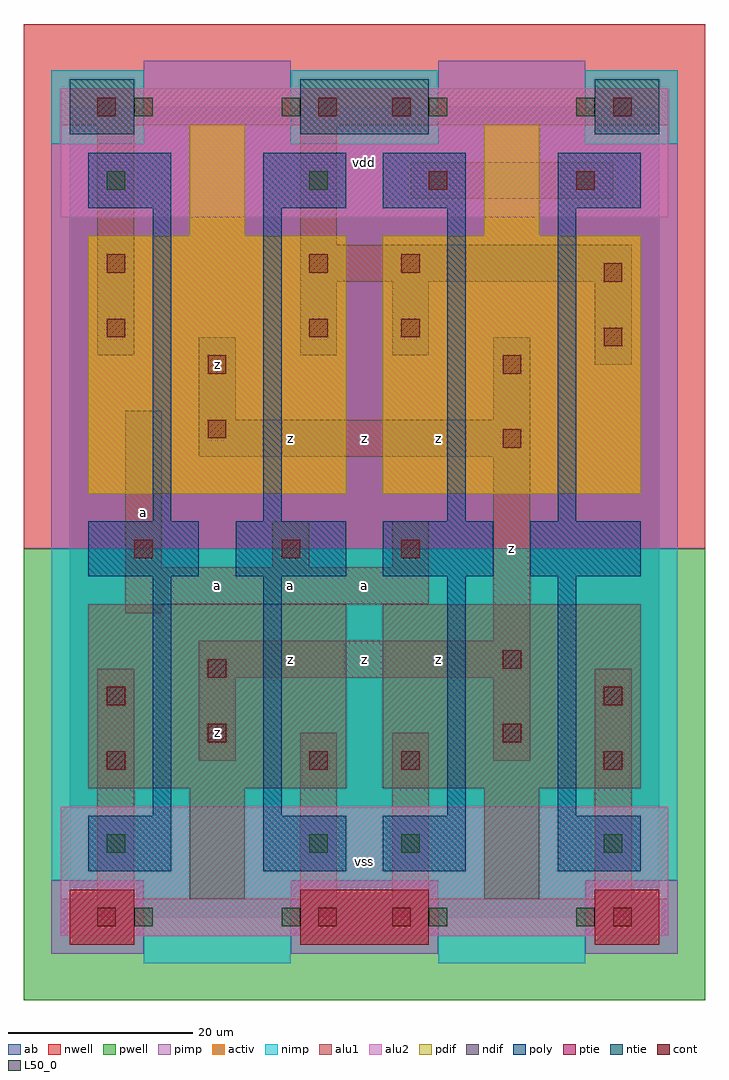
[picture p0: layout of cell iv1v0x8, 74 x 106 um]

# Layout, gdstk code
import gdstk
lib = gdstk.Library(unit=1e-6, precision=1e-09)
def R(c, l, rs):  # rectangles x0, y0, x1, y1
    for r in rs: c.add(gdstk.rectangle(r[:2], r[2:], *l))
def A(c, l, x, y, w, h, nx, ny, dx, dy):  # array of equal rectangles
    R(c, l, [(x+i*dx, y+j*dy, x+i*dx+w, y+j*dy+h) for i in range(nx) for j in range(ny)])
ndif = (3, 0)
pdif = (4, 0)
ntie = (5, 0)
ptie = (6, 0)
cont = (25, 0)
pwell = (41, 0)
nwell = (42, 0)
activ = (43, 0)
pimp = (44, 0)
nimp = (45, 0)
poly = (46, 0)
alu1 = (49, 0)
L50_0 = (50, 0)
alu2 = (51, 0)
ab = (63, 0)

iv1v0x8 = lib.new_cell('iv1v0x8')
R(iv1v0x8, ndif, [(13,2,19,14), (45,2,51,14), (2,14,30,34), (34,14,62,34)])
R(iv1v0x8, pdif, [(2,46,30,74), (34,46,62,74), (13,74,19,86), (45,74,51,86)])
R(iv1v0x8, ntie, [(0,85,7,91), (25,85,39,91), (57,85,64,91)])
R(iv1v0x8, ptie, [(0,-3,7,3), (25,-3,39,3), (57,-3,64,3)])
R(iv1v0x8, cont, [(3,-1,5,1), (27,-1,29,1), (35,-1,37,1), (59,-1,61,1), (4,16,6,18), (26,16,28,18), (36,16,38,18), (58,16,60,18), (15,19,17,21), (47,19,49,21), (4,23,6,25), (58,23,60,25), (15,26,17,28), (47,27,49,29), (7,39,9,41), (23,39,25,41), (36,39,38,41), (47,51,49,53), (15,52,17,54), (15,59,17,61), (47,59,49,61), (58,62,60,64), (4,63,6,65), (26,63,28,65), (36,63,38,65), (58,69,60,71), (4,70,6,72), (26,70,28,72), (36,70,38,72), (39,79,41,81), (55,79,57,81), (3,87,5,89), (27,87,29,89), (35,87,37,89), (59,87,61,89)])
R(iv1v0x8, pwell, [(-5,-9,69,40)])
R(iv1v0x8, nwell, [(-5,40,69,97)])
R(iv1v0x8, activ, [(0,-3,7,3), (25,-3,39,3), (57,-3,64,3), (13,2,19,14), (45,2,51,14), (2,14,30,34), (34,14,62,34), (2,46,30,74), (34,46,62,74), (13,74,19,86), (45,74,51,86), (0,85,7,91), (25,85,39,91), (57,85,64,91)])
R(iv1v0x8, pimp, [(-2,-4,8,4), (24,-4,40,4), (56,-4,66,4), (-2,40,66,84), (8,84,24,93), (40,84,56,93)])
R(iv1v0x8, nimp, [(8,-5,24,4), (40,-5,56,4), (-2,4,66,40), (-2,84,8,92), (24,84,40,92), (56,84,66,92)])
A(iv1v0x8, poly, 2, 37, 12, 6, 4, 1, 16, 0)
R(iv1v0x8, poly, [(2,5,11,11), (21,5,30,11), (34,5,43,11), (53,5,62,11), (9,11,11,37), (21,11,23,37), (41,11,43,37), (53,11,55,37), (9,43,11,77), (21,43,23,77), (41,43,43,77), (53,43,55,77), (2,77,11,83), (21,77,30,83), (34,77,43,83), (53,77,62,83)])
R(iv1v0x8, alu1, [(-1,-2,65,2), (3,2,7,27), (25,2,29,20), (35,2,39,20), (57,2,61,27), (14,17,18,26), (46,17,50,26), (14,26,50,30), (46,30,50,50), (6,33,10,34), (6,34,39,38), (6,38,10,55), (22,38,26,43), (35,38,39,43), (14,50,50,54), (14,54,18,63), (46,54,50,63), (57,60,61,69), (3,61,7,86), (25,61,29,69), (35,61,39,69), (25,69,61,73), (25,73,29,86), (37,78,59,82), (-1,86,65,90)])
A(iv1v0x8, L50_0, 7, -1, 2, 2, 4, 2, 16, 88)
R(iv1v0x8, L50_0, [(4,7,6,9), (26,7,28,9), (36,7,38,9), (58,7,60,9), (4,79,6,81), (26,79,28,81)])
R(iv1v0x8, alu2, [(-1,-2,65,12), (-1,76,65,90)])
R(iv1v0x8, ab, [(0,0,64,88)])
iv1v0x8.add(gdstk.Label('a', (8,44), layer=49, texttype=0))
iv1v0x8.add(gdstk.Label('z', (16,20), layer=49, texttype=0))
iv1v0x8.add(gdstk.Label('a', (16,36), layer=49, texttype=0))
iv1v0x8.add(gdstk.Label('a', (24,36), layer=49, texttype=0))
iv1v0x8.add(gdstk.Label('z', (24,28), layer=49, texttype=0))
iv1v0x8.add(gdstk.Label('z', (16,60), layer=49, texttype=0))
iv1v0x8.add(gdstk.Label('z', (24,52), layer=49, texttype=0))
iv1v0x8.add(gdstk.Label('z', (32,28), layer=49, texttype=0))
iv1v0x8.add(gdstk.Label('a', (32,36), layer=49, texttype=0))
iv1v0x8.add(gdstk.Label('z', (40,28), layer=49, texttype=0))
iv1v0x8.add(gdstk.Label('z', (32,52), layer=49, texttype=0))
iv1v0x8.add(gdstk.Label('z', (40,52), layer=49, texttype=0))
iv1v0x8.add(gdstk.Label('z', (48,40), layer=49, texttype=0))
iv1v0x8.add(gdstk.Label('vss', (32,6), layer=51, texttype=0))
iv1v0x8.add(gdstk.Label('vdd', (32,82), layer=51, texttype=0))

lib.write_gds('iv1v0x8.gds')
